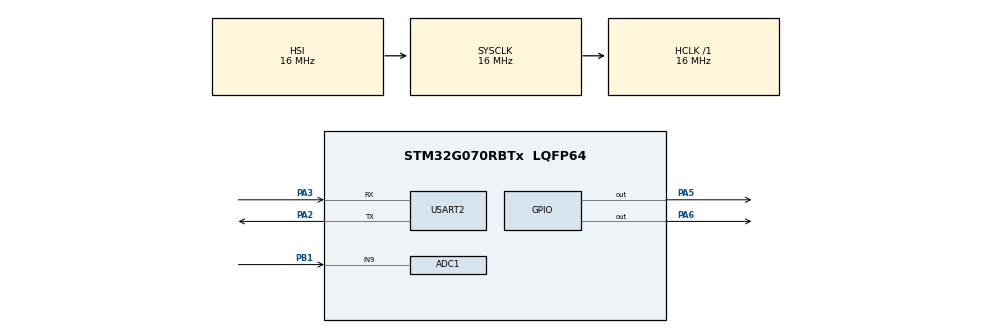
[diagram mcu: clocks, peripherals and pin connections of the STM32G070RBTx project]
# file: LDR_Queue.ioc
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ADC1.Channel-1\#ChannelRegularConversion=ADC_CHANNEL_9
ADC1.ContinuousConvMode=ENABLE
ADC1.NbrOfConversionFlag=1
ADC1.Rank-1\#ChannelRegularConversion=1
ADC1.SamplingTime-1\#ChannelRegularConversion=ADC_SAMPLINGTIME_COMMON_1
ADC1.SelectedChannel=ADC_CHANNEL_9
ADC1.master=1
Mcu.Family=STM32G0
Mcu.Name=STM32G070RBTx
Mcu.Package=LQFP64
NVIC.TIM3_IRQn=true\:3\:0\:false\:false\:true\:false\:true\:true
NVIC.TimeBase=TIM3_IRQn
NVIC.TimeBaseIP=TIM3
PA13.Mode=Serial_Wire
PA13.Signal=SYS_SWDIO
PA14-BOOT0.Mode=Serial_Wire
PA14-BOOT0.Signal=SYS_SWCLK
PA2.Mode=Asynchronous
PA2.Signal=USART2_TX
PA3.Mode=Asynchronous
PA3.Signal=USART2_RX
PA5.Signal=GPIO_Output
PA6.Signal=GPIO_Output
PB1.Signal=SharedAnalog_PB1
PC14-OSC32_IN\ (PC14).Mode=LSE-External-Oscillator
PC14-OSC32_IN\ (PC14).Signal=RCC_OSC32_IN
PC15-OSC32_OUT\ (PC15).Mode=LSE-External-Oscillator
PC15-OSC32_OUT\ (PC15).Signal=RCC_OSC32_OUT
PF0-OSC_IN\ (PF0).Mode=HSE-External-Clock-Source
PF0-OSC_IN\ (PF0).Signal=RCC_OSC_IN
ProjectManager.HeapSize=0x200
ProjectManager.StackSize=0x400
ProjectManager.TargetToolchain=STM32CubeIDE
RCC.AHBFreq_Value=16000000
RCC.CortexFreq_Value=16000000
RCC.EXTERNAL_CLOCK_VALUE=12288000
RCC.HCLKFreq_Value=16000000
RCC.HSE_VALUE=8000000
RCC.HSI_VALUE=16000000
RCC.SYSCLKFreq_VALUE=16000000
RCC.VCOOutputFreq_Value=128000000
SH.SharedAnalog_PB1.0=GPIO_Analog
SH.SharedAnalog_PB1.1=ADC1_IN9,IN9
USART2.VirtualMode-Asynchronous=VM_ASYNC
VP_SYS_VS_tim3.Mode=TIM3
board=NUCLEO-G070RB

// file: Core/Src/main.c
/* USER CODE BEGIN Header */
/**
  ******************************************************************************
  * @file           : main.c
  * @brief          : Main program body
  ******************************************************************************
  * @attention
  *
  * Copyright (c) 2023 STMicroelectronics.
  * All rights reserved.
  *
  * This software is licensed under terms that can be found in the LICENSE file
  * in the root directory of this software component.
  * If no LICENSE file comes with this software, it is provided AS-IS.
  *
  ******************************************************************************
  */
/* USER CODE END Header */
#include "main.h"

/* USER CODE BEGIN Includes */
#include <stdio.h>
#include <string.h>
#include "FreeRTOS.h"
#include "task.h"
#include "queue.h"

/* USER CODE END Includes */

/* USER CODE BEGIN PD */
// Light sensor pin
#define LIGHT_SENSOR_PIN GPIO_PIN_1
#define LIGHT_SENSOR_PORT GPIOB

// LED pins
#define LED1_PIN GPIO_PIN_5
#define LED1_PORT GPIOA
#define LED2_PIN GPIO_PIN_6
#define LED2_PORT GPIOA

/* USER CODE END PD */

ADC_HandleTypeDef hadc1;

UART_HandleTypeDef huart2;

/* USER CODE BEGIN PV */
QueueHandle_t lightQueue;
TaskHandle_t lightTaskHandle, displayTaskHandle, ledTaskHandle;

/* USER CODE END PV */

void SystemClock_Config(void);
static void MX_GPIO_Init(void);
static void MX_USART2_UART_Init(void);
static void MX_ADC1_Init(void);

/* USER CODE BEGIN 0 */
// Light sensor task
void lightTask(void* pvParameters) {
  (void)pvParameters;

  while(1) {
    // Read light sensor value
    uint16_t lightValue = HAL_ADC_GetValue(&hadc1);

    // Send light sensor value to the queue
    xQueueSend(lightQueue, &lightValue, portMAX_DELAY);

    // Delay for 1 second
    vTaskDelay(pdMS_TO_TICKS(1000));
  }
}

// Display task
void displayTask(void* pvParameters) {
  (void)pvParameters;

  while(1) {
    // Receive light sensor value from the queue
    uint16_t lightValue;
    if (xQueueReceive(lightQueue, &lightValue, portMAX_DELAY)) {
      // Display light sensor value on the UART console
      char buffer[200];
      HAL_ADC_Start(&hadc1);
      //sprintf(buffer, sizeof(buffer), "Light Sensor Value: %d\r\n", lightValue);
      //char *buffer = (" Light Sensor Value: %d\r\n", lightValue);
      sprintf(buffer, " Light Sensor Value: %d\r\n", lightValue);
      HAL_UART_Transmit(&huart2, (uint8_t*)buffer, strlen(buffer), HAL_MAX_DELAY);
    }
  }
}

// LED task
void ledTask(void* pvParameters) {
  (void)pvParameters;

  while(1) {
    // Toggle LED1 every 500ms
    HAL_GPIO_TogglePin(LED1_PORT, LED1_PIN);
    vTaskDelay(pdMS_TO_TICKS(500));

    // Toggle LED2 every 100ms
    HAL_GPIO_TogglePin(LED2_PORT, LED2_PIN);
    vTaskDelay(pdMS_TO_TICKS(100));
  }
}

/* USER CODE END 0 */

int main(void)
{

  /* MCU Configuration--------------------------------------------------------*/

  /* Reset of all peripherals, Initializes the Flash interface and the Systick. */
  HAL_Init();

  /* Configure the system clock */
  SystemClock_Config();

  /* Initialize all configured peripherals */
  MX_GPIO_Init();
  MX_USART2_UART_Init();
  MX_ADC1_Init();
  /* USER CODE BEGIN 2 */
  // Create the light sensor queue
    lightQueue = xQueueCreate(5, sizeof(uint16_t));
    if (lightQueue == 0)  // Queue not created
          {
        	  char *str = "Unable to create Integer Queue\r\n\n";
        	  HAL_UART_Transmit(&huart2, (uint8_t *)str, strlen (str), HAL_MAX_DELAY);
          }
          else
          {
        	  char *str = "Integer Queue Created successfully\r\n\n";
        	  HAL_UART_Transmit(&huart2, (uint8_t *)str, strlen (str), HAL_MAX_DELAY);
          }

    // Create tasks
    xTaskCreate(lightTask, "LightTask", 200, NULL, 1, &lightTaskHandle);
    xTaskCreate(displayTask, "DisplayTask", 200, NULL, 1, &displayTaskHandle);
    xTaskCreate(ledTask, "LEDTask", 200, NULL, 1, &ledTaskHandle);

    // Start the FreeRTOS scheduler
    vTaskStartScheduler();

  /* USER CODE END 2 */

  /* Infinite loop */
  while (1)
  {

  }
}

void SystemClock_Config(void)
{
  RCC_OscInitTypeDef RCC_OscInitStruct = {0};
  RCC_ClkInitTypeDef RCC_ClkInitStruct = {0};

  /** Configure the main internal regulator output voltage
  */
  HAL_PWREx_ControlVoltageScaling(PWR_REGULATOR_VOLTAGE_SCALE1);

  /** Initializes the RCC Oscillators according to the specified parameters
  * in the RCC_OscInitTypeDef structure.
  */
  RCC_OscInitStruct.OscillatorType = RCC_OSCILLATORTYPE_HSI;
  RCC_OscInitStruct.HSIState = RCC_HSI_ON;
  RCC_OscInitStruct.HSIDiv = RCC_HSI_DIV1;
  RCC_OscInitStruct.HSICalibrationValue = RCC_HSICALIBRATION_DEFAULT;
  RCC_OscInitStruct.PLL.PLLState = RCC_PLL_NONE;
  if (HAL_RCC_OscConfig(&RCC_OscInitStruct) != HAL_OK)
  {
    Error_Handler();
  }

  /** Initializes the CPU, AHB and APB buses clocks
  */
  RCC_ClkInitStruct.ClockType = RCC_CLOCKTYPE_HCLK|RCC_CLOCKTYPE_SYSCLK
                              |RCC_CLOCKTYPE_PCLK1;
  RCC_ClkInitStruct.SYSCLKSource = RCC_SYSCLKSOURCE_HSI;
  RCC_ClkInitStruct.AHBCLKDivider = RCC_SYSCLK_DIV1;
  RCC_ClkInitStruct.APB1CLKDivider = RCC_HCLK_DIV1;

  if (HAL_RCC_ClockConfig(&RCC_ClkInitStruct, FLASH_LATENCY_0) != HAL_OK)
  {
    Error_Handler();
  }
}

static void MX_ADC1_Init(void)
{

  ADC_ChannelConfTypeDef sConfig = {0};

  /** Configure the global features of the ADC (Clock, Resolution, Data Alignment and number of conversion)
  */
  hadc1.Instance = ADC1;
  hadc1.Init.ClockPrescaler = ADC_CLOCK_SYNC_PCLK_DIV2;
  hadc1.Init.Resolution = ADC_RESOLUTION_12B;
  hadc1.Init.DataAlign = ADC_DATAALIGN_RIGHT;
  hadc1.Init.ScanConvMode = ADC_SCAN_DISABLE;
  hadc1.Init.EOCSelection = ADC_EOC_SINGLE_CONV;
  hadc1.Init.LowPowerAutoWait = DISABLE;
  hadc1.Init.LowPowerAutoPowerOff = DISABLE;
  hadc1.Init.ContinuousConvMode = ENABLE;
  hadc1.Init.NbrOfConversion = 1;
  hadc1.Init.ExternalTrigConv = ADC_SOFTWARE_START;
  hadc1.Init.ExternalTrigConvEdge = ADC_EXTERNALTRIGCONVEDGE_NONE;
  hadc1.Init.DMAContinuousRequests = DISABLE;
  hadc1.Init.Overrun = ADC_OVR_DATA_PRESERVED;
  hadc1.Init.SamplingTimeCommon1 = ADC_SAMPLETIME_1CYCLE_5;
  hadc1.Init.SamplingTimeCommon2 = ADC_SAMPLETIME_1CYCLE_5;
  hadc1.Init.OversamplingMode = DISABLE;
  hadc1.Init.TriggerFrequencyMode = ADC_TRIGGER_FREQ_HIGH;
  if (HAL_ADC_Init(&hadc1) != HAL_OK)
  {
    Error_Handler();
  }

  /** Configure Regular Channel
  */
  sConfig.Channel = ADC_CHANNEL_9;
  sConfig.Rank = ADC_REGULAR_RANK_1;
  sConfig.SamplingTime = ADC_SAMPLINGTIME_COMMON_1;
  if (HAL_ADC_ConfigChannel(&hadc1, &sConfig) != HAL_OK)
  {
    Error_Handler();
  }

}

static void MX_USART2_UART_Init(void)
{

  huart2.Instance = USART2;
  huart2.Init.BaudRate = 115200;
  huart2.Init.WordLength = UART_WORDLENGTH_8B;
  huart2.Init.StopBits = UART_STOPBITS_1;
  huart2.Init.Parity = UART_PARITY_NONE;
  huart2.Init.Mode = UART_MODE_TX_RX;
  huart2.Init.HwFlowCtl = UART_HWCONTROL_NONE;
  huart2.Init.OverSampling = UART_OVERSAMPLING_16;
  huart2.Init.OneBitSampling = UART_ONE_BIT_SAMPLE_DISABLE;
  huart2.Init.ClockPrescaler = UART_PRESCALER_DIV1;
  huart2.AdvancedInit.AdvFeatureInit = UART_ADVFEATURE_NO_INIT;
  if (HAL_UART_Init(&huart2) != HAL_OK)
  {
    Error_Handler();
  }
  if (HAL_UARTEx_SetTxFifoThreshold(&huart2, UART_TXFIFO_THRESHOLD_1_8) != HAL_OK)
  {
    Error_Handler();
  }
  if (HAL_UARTEx_SetRxFifoThreshold(&huart2, UART_RXFIFO_THRESHOLD_1_8) != HAL_OK)
  {
    Error_Handler();
  }
  if (HAL_UARTEx_DisableFifoMode(&huart2) != HAL_OK)
  {
    Error_Handler();
  }

}

static void MX_GPIO_Init(void)
{
  GPIO_InitTypeDef GPIO_InitStruct = {0};

  /* GPIO Ports Clock Enable */
  __HAL_RCC_GPIOC_CLK_ENABLE();
  __HAL_RCC_GPIOF_CLK_ENABLE();
  __HAL_RCC_GPIOA_CLK_ENABLE();
  __HAL_RCC_GPIOB_CLK_ENABLE();

  /*Configure GPIO pin Output Level */
  HAL_GPIO_WritePin(GPIOA, GPIO_PIN_5|GPIO_PIN_6, GPIO_PIN_RESET);

  /*Configure GPIO pins : PA5 PA6 */
  GPIO_InitStruct.Pin = GPIO_PIN_5|GPIO_PIN_6;
  GPIO_InitStruct.Mode = GPIO_MODE_OUTPUT_PP;
  GPIO_InitStruct.Pull = GPIO_NOPULL;
  GPIO_InitStruct.Speed = GPIO_SPEED_FREQ_LOW;
  HAL_GPIO_Init(GPIOA, &GPIO_InitStruct);

}

void HAL_TIM_PeriodElapsedCallback(TIM_HandleTypeDef *htim)
{
  if (htim->Instance == TIM3) {
    HAL_IncTick();
  }
}

void Error_Handler(void)
{
  __disable_irq();
  while (1)
  {
  }
}
